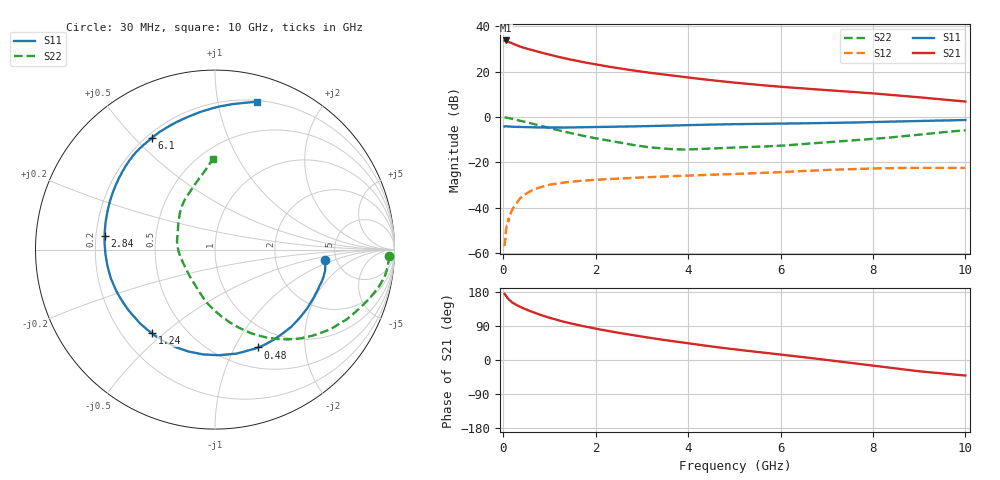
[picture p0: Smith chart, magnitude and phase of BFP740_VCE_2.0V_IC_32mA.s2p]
! Infineon Technologies  Discrete & RF Semiconductors
! BFP740
! VCE =  2.0 V,  IC =  32 mA
! Common Emitter S-Parameters:  Jan 2016
# GHz  S  MA  R  50
!  f  S11  S21  S12  S22
! GHz  MAG  ANG  MAG  ANG  MAG  ANG  MAG  ANG
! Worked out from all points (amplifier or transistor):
!   229 points, 30 MHz to 10 GHz, reference 50 ohm
!   highest |S21| = 33.8 dB at 50 MHz (marker M1)
!   |S21| within 3 dB of that: start of sweep to 413.2 MHz
!   unconditionally stable (mu >= 1): 5.471 GHz to end of sweep
!   at 280 MHz: K = 0.30, MSG = 35.0 dB, |S12| = -38.3 dB
!   at 1.78 GHz: K = 0.54, MSG = 26.1 dB, |S12| = -28.1 dB
!   at 10 GHz: K = 1.01, MAG = 14.0 dB, |S12| = -22.5 dB
!   S11 on the Smith chart (normalised r, x): 30 MHz: 4.05, -0.77; 480 MHz: 0.74, -1.25; 1.24 GHz: 0.32, -0.46; 2.84 GHz: 0.24, +0.06; 6.1 GHz: 0.22, +0.56; 10 GHz: 0.21, +1.30
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0.03  0.6155 -5.5  48.27 174.6  0.0014 85.0  0.9684 -2.1
0.05  0.6221 -9.0  48.95 171.2  0.002 87.8  0.9686 -4.4
0.08  0.6233 -14.2  48.23 165.6  0.004 78.6  0.9616 -7.6
0.11  0.6159 -19.3  46.24 161.2  0.0056 74.8  0.9489 -10.5
0.15  0.612 -25.6  44.17 156.4  0.007 77.3  0.9268 -14.0
0.2  0.6092 -32.7  41.78 151.5  0.0091 75.7  0.9022 -17.7
0.26  0.6053 -40.4  39.45 147.0  0.0115 73.1  0.8726 -21.6
0.34  0.6006 -50.5  36.55 141.8  0.0148 69.4  0.8378 -26.8
0.48  0.5955 -66.2  32.97 134.1  0.0197 62.8  0.7765 -35.0
0.8  0.5879 -96.5  26.74 119.2  0.0281 50.7  0.6438 -51.0
1  0.586 -111.5  23.77 111.5  0.0318 44.8  0.5701 -59.4
1.24  0.5837 -126.9  20.73 103.3  0.0347 39.6  0.4949 -68.0
1.7  0.5906 -149.5  16.51 90.2  0.0389 32.8  0.3885 -81.9
2.2  0.6033 -168.2  13.33 78.2  0.0421 27.8  0.3103 -96.3
2.84  0.6196 173.1  10.55 64.9  0.0452 23.9  0.2382 -114.6
3.4  0.6373 159.5  8.831 54.3  0.0481 20.8  0.2034 -134.5
4.3  0.6699 141.6  6.838 38.9  0.052 16.6  0.197 -167.8
5.1  0.6962 130.1  5.608 26.9  0.0556 13.6  0.2131 171.3
6.1  0.7155 119.6  4.566 13.0  0.0612 10.4  0.2353 151.3
6.8  0.7312 111.7  4.048 3.1  0.0659 6.3  0.2642 139.4
8.4  0.7889 90.7  3.074 -21.0  0.0743 -5.5  0.3541 112.7
10  0.8558 74.2  2.189 -41.0  0.0747 -15.8  0.5074 91.3
